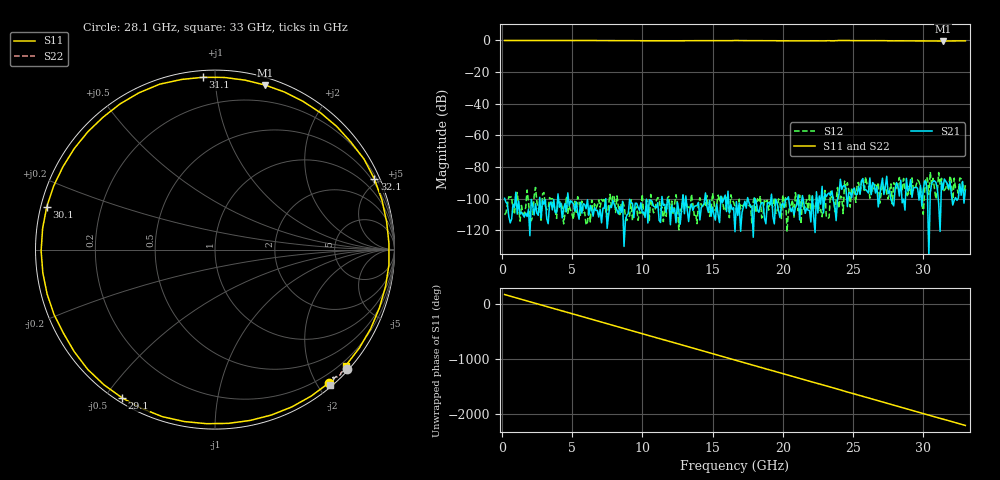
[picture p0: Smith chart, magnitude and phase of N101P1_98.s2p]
# GHZ S RI R 50
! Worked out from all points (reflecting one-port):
!   329 points, 200 MHz to 33 GHz, reference 50 ohm
!   lowest |S11| = -0.4 dB at 31.4 GHz (marker M1), VSWR 46.97, Z = 3.01 + j67.5 ohm
!   phase of S11 starts at 165 deg and turns -2367 deg over the sweep
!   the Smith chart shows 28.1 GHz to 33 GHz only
!   S11 on the Smith chart (normalised r, x): 28.1 GHz: 0.07, -2.16; 29.1 GHz: 0.02, -0.55; 30.1 GHz: 0.02, +0.13; 31.1 GHz: 0.04, +0.93; 32.1 GHz: 0.34, +4.72; 33 GHz: 0.10, -2.63
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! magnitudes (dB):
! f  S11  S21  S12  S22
! 200 MHz  0.0  -99.7  -110.2  0.0
! 5.7 GHz  0.0  -109.1  -101.5  0.0
! 11.2 GHz  -0.2  -113.7  -99.8  -0.1
! 16.6 GHz  0.0  -120.8  -104.9  0.0
! 19.9 GHz  -0.2  -104.0  -112.5  -0.2
! 22.1 GHz  -0.2  -98.2  -97.6  -0.1
! 22.7 GHz  -0.3  -103.4  -106.8  -0.2
! 23.3 GHz  -0.1  -96.4  -111.9  0.0
! 23.5 GHz  -0.2  -95.1  -99.5  -0.1
! 24.1 GHz  0.0  -87.7  -98.3  0.1
! 24.6 GHz  -0.1  -105.0  -89.9  0.0
! 24.9 GHz  0.0  -99.3  -93.2  0.1
! 25.5 GHz  -0.1  -97.1  -97.6  0.1
! 27.6 GHz  -0.2  -95.1  -94.8  0.0
! 28.1 GHz  -0.2  -89.8  -93.6  -0.1
! 29.1 GHz  -0.2  -87.9  -97.1  -0.1
! 30.1 GHz  -0.3  -88.7  -95.2  -0.1
! 31.1 GHz  -0.3  -103.1  -83.5  -0.2
! 31.4 GHz  -0.4  -94.4  -94.8  -0.3
! 31.9 GHz  -0.3  -89.4  -85.6  -0.3
! 32.1 GHz  -0.3  -104.0  -103.3  -0.2
! 33 GHz  -0.2  -94.5  -91.3  -0.1
